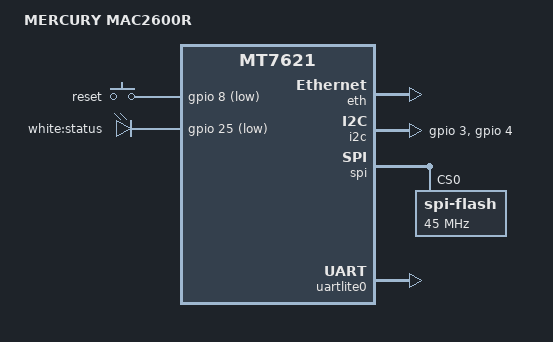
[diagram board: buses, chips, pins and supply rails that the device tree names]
// SPDX-License-Identifier: GPL-2.0+

/dts-v1/;
#include "mt7621.dtsi"

#include <dt-bindings/gpio/gpio.h>
#include <dt-bindings/input/input.h>

/ {
	model = "MERCURY MAC2600R";
	compatible = "mercury,mac2600r", "mediatek,mt7621-soc";

	aliases {
		spi0 = &spi;
	};

	chosen {
		stdout-path = &uartlite0;
	};

	config {
		reset-button = "reset";
		status1-led = "white:status";
	};

	keys {
		compatible = "gpio-keys";

		reset {
			label = "reset";
			gpios = <&gpio 8 GPIO_ACTIVE_LOW>;
			linux,code = <KEY_RESTART>;
		};
	};

	leds {
		compatible = "gpio-leds";

		led-status {
			label = "white:status";
			gpios = <&gpio 25 GPIO_ACTIVE_LOW>;
			default-state = "on";
		};
	};
};

&eth {
	status = "okay";
};

&gpio {
	status = "okay";
};

&i2c {
	gpios = <&gpio 3 1>, /* PIN3 as SDA */
		<&gpio 4 1>; /* PIN4 as CLK */
};

&spi {
	status = "okay";

	spi-max-frequency = <45000000>;

	spi-flash@0 {
		#address-cells = <1>;
		#size-cells = <1>;
		compatible = "spi-flash";
		spi-max-frequency = <45000000>;
		reg = <0>;
	};
};

&state_default {
	/delete-node/ spi-nand_pins;
	/delete-node/ sdhci-nand_pins;
	/delete-node/ rgmii2_pins;
};

&uartlite0 {
	status = "okay";
};
